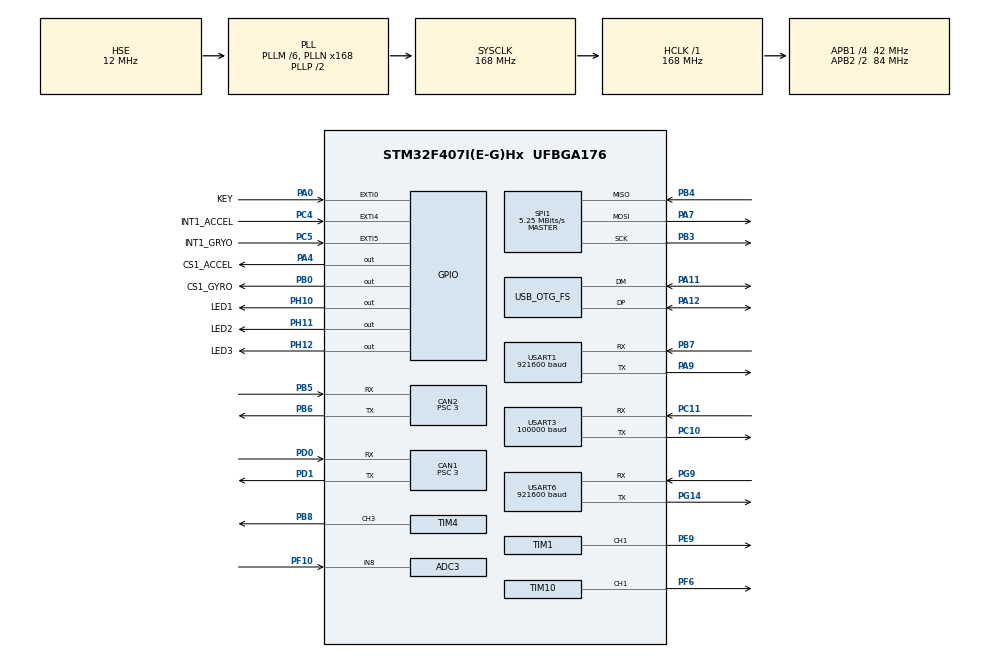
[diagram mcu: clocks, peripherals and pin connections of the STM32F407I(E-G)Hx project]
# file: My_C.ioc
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ADC1.Channel-0\#ChannelRegularConversion=ADC_CHANNEL_VREFINT
ADC1.ClockPrescaler=ADC_CLOCK_SYNC_PCLK_DIV4
ADC1.NbrOfConversionFlag=1
ADC1.Rank-0\#ChannelRegularConversion=1
ADC1.SamplingTime-0\#ChannelRegularConversion=ADC_SAMPLETIME_3CYCLES
ADC1.master=1
ADC3.Channel-0\#ChannelRegularConversion=ADC_CHANNEL_8
ADC3.ClockPrescaler=ADC_CLOCK_SYNC_PCLK_DIV4
ADC3.NbrOfConversionFlag=1
ADC3.Rank-0\#ChannelRegularConversion=1
ADC3.SamplingTime-0\#ChannelRegularConversion=ADC_SAMPLETIME_3CYCLES
CAN1.ABOM=ENABLE
CAN1.AWUM=ENABLE
CAN1.BS1=CAN_BS1_10TQ
CAN1.BS2=CAN_BS2_3TQ
CAN1.CalculateBaudRate=1000000
CAN1.CalculateTimeBit=1000
CAN1.CalculateTimeQuantum=71.42857142857143
CAN1.Prescaler=3
CAN1.TXFP=ENABLE
CAN2.ABOM=ENABLE
CAN2.AWUM=ENABLE
CAN2.BS1=CAN_BS1_10TQ
CAN2.BS2=CAN_BS2_3TQ
CAN2.CalculateBaudRate=1000000
CAN2.CalculateTimeBit=1000
CAN2.CalculateTimeQuantum=71.42857142857143
CAN2.Prescaler=3
CAN2.TXFP=ENABLE
Dma.Request0=SPI1_RX
Dma.Request1=SPI1_TX
Dma.Request2=USART3_RX
Dma.Request3=USART1_RX
Dma.Request4=USART1_TX
Dma.Request5=USART6_RX
Dma.Request6=USART6_TX
Dma.SPI1_RX.0.Direction=DMA_PERIPH_TO_MEMORY
Dma.SPI1_RX.0.FIFOMode=DMA_FIFOMODE_DISABLE
Dma.SPI1_RX.0.Instance=DMA2_Stream0
Dma.SPI1_RX.0.MemDataAlignment=DMA_MDATAALIGN_BYTE
Dma.SPI1_RX.0.MemInc=DMA_MINC_ENABLE
Dma.SPI1_RX.0.Mode=DMA_NORMAL
Dma.SPI1_RX.0.PeriphDataAlignment=DMA_PDATAALIGN_BYTE
Dma.SPI1_RX.0.PeriphInc=DMA_PINC_DISABLE
Dma.SPI1_RX.0.Priority=DMA_PRIORITY_VERY_HIGH
Dma.SPI1_TX.1.Direction=DMA_MEMORY_TO_PERIPH
Dma.SPI1_TX.1.FIFOMode=DMA_FIFOMODE_DISABLE
Dma.SPI1_TX.1.Instance=DMA2_Stream3
Dma.SPI1_TX.1.MemDataAlignment=DMA_MDATAALIGN_BYTE
Dma.SPI1_TX.1.MemInc=DMA_MINC_ENABLE
Dma.SPI1_TX.1.Mode=DMA_NORMAL
Dma.SPI1_TX.1.PeriphDataAlignment=DMA_PDATAALIGN_BYTE
Dma.SPI1_TX.1.PeriphInc=DMA_PINC_DISABLE
Dma.SPI1_TX.1.Priority=DMA_PRIORITY_HIGH
Dma.USART1_RX.3.Direction=DMA_PERIPH_TO_MEMORY
Dma.USART1_RX.3.FIFOMode=DMA_FIFOMODE_DISABLE
Dma.USART1_RX.3.Instance=DMA2_Stream2
Dma.USART1_RX.3.MemDataAlignment=DMA_MDATAALIGN_BYTE
Dma.USART1_RX.3.MemInc=DMA_MINC_ENABLE
Dma.USART1_RX.3.Mode=DMA_CIRCULAR
Dma.USART1_RX.3.PeriphDataAlignment=DMA_PDATAALIGN_BYTE
Dma.USART1_RX.3.PeriphInc=DMA_PINC_DISABLE
Dma.USART1_RX.3.Priority=DMA_PRIORITY_HIGH
Dma.USART1_TX.4.Direction=DMA_MEMORY_TO_PERIPH
Dma.USART1_TX.4.FIFOMode=DMA_FIFOMODE_DISABLE
Dma.USART1_TX.4.Instance=DMA2_Stream7
Dma.USART1_TX.4.MemDataAlignment=DMA_MDATAALIGN_BYTE
Dma.USART1_TX.4.MemInc=DMA_MINC_ENABLE
Dma.USART1_TX.4.Mode=DMA_NORMAL
Dma.USART1_TX.4.PeriphDataAlignment=DMA_PDATAALIGN_BYTE
Dma.USART1_TX.4.PeriphInc=DMA_PINC_DISABLE
Dma.USART1_TX.4.Priority=DMA_PRIORITY_HIGH
Dma.USART3_RX.2.Direction=DMA_PERIPH_TO_MEMORY
Dma.USART3_RX.2.FIFOMode=DMA_FIFOMODE_DISABLE
Dma.USART3_RX.2.Instance=DMA1_Stream1
Dma.USART3_RX.2.MemDataAlignment=DMA_MDATAALIGN_BYTE
Dma.USART3_RX.2.MemInc=DMA_MINC_ENABLE
Dma.USART3_RX.2.Mode=DMA_CIRCULAR
Dma.USART3_RX.2.PeriphDataAlignment=DMA_PDATAALIGN_BYTE
Dma.USART3_RX.2.PeriphInc=DMA_PINC_DISABLE
Dma.USART3_RX.2.Priority=DMA_PRIORITY_HIGH
Dma.USART6_RX.5.Direction=DMA_PERIPH_TO_MEMORY
Dma.USART6_RX.5.FIFOMode=DMA_FIFOMODE_DISABLE
Dma.USART6_RX.5.Instance=DMA2_Stream1
Dma.USART6_RX.5.MemDataAlignment=DMA_MDATAALIGN_BYTE
Dma.USART6_RX.5.MemInc=DMA_MINC_ENABLE
Dma.USART6_RX.5.Mode=DMA_CIRCULAR
Dma.USART6_RX.5.PeriphDataAlignment=DMA_PDATAALIGN_BYTE
Dma.USART6_RX.5.PeriphInc=DMA_PINC_DISABLE
Dma.USART6_RX.5.Priority=DMA_PRIORITY_HIGH
Dma.USART6_TX.6.Direction=DMA_MEMORY_TO_PERIPH
Dma.USART6_TX.6.FIFOMode=DMA_FIFOMODE_DISABLE
Dma.USART6_TX.6.Instance=DMA2_Stream6
Dma.USART6_TX.6.MemDataAlignment=DMA_MDATAALIGN_BYTE
Dma.USART6_TX.6.MemInc=DMA_MINC_ENABLE
Dma.USART6_TX.6.Mode=DMA_NORMAL
Dma.USART6_TX.6.PeriphDataAlignment=DMA_PDATAALIGN_BYTE
Dma.USART6_TX.6.PeriphInc=DMA_PINC_DISABLE
Dma.USART6_TX.6.Priority=DMA_PRIORITY_HIGH
FREERTOS.Tasks01=MonitorTask,3,512,StartMonitorTask,As weak,NULL,Dynamic,NULL,NULL;CommunityTask,2,512,StartCommunityTask,As weak,NULL,Dynamic,NULL,NULL;ControlTask,3,1024,StartControlTask,As weak,NULL,Dynamic,NULL,NULL;LedTask,1,128,StartLedTask,As weak,NULL,Dynamic,NULL,NULL
Mcu.Family=STM32F4
Mcu.Name=STM32F407I(E-G)Hx
Mcu.Package=UFBGA176
NVIC.CAN1_RX0_IRQn=true\:5\:0\:false\:false\:true\:true\:true\:true\:true
NVIC.CAN2_RX0_IRQn=true\:5\:0\:false\:false\:true\:true\:true\:true\:true
NVIC.DMA1_Stream1_IRQn=true\:5\:0\:false\:false\:true\:true\:false\:true\:true
NVIC.DMA2_Stream0_IRQn=true\:5\:0\:false\:false\:true\:true\:false\:true\:true
NVIC.DMA2_Stream1_IRQn=true\:5\:0\:false\:false\:true\:true\:false\:true\:true
NVIC.DMA2_Stream2_IRQn=true\:5\:0\:false\:false\:true\:true\:false\:true\:true
NVIC.DMA2_Stream3_IRQn=true\:5\:0\:false\:false\:true\:true\:false\:true\:true
NVIC.DMA2_Stream6_IRQn=true\:5\:0\:false\:false\:true\:true\:false\:true\:true
NVIC.DMA2_Stream7_IRQn=true\:5\:0\:false\:false\:true\:true\:false\:true\:true
NVIC.EXTI0_IRQn=true\:5\:0\:false\:false\:true\:true\:true\:true\:true
NVIC.EXTI4_IRQn=true\:5\:0\:false\:false\:true\:true\:true\:true\:true
NVIC.EXTI9_5_IRQn=true\:5\:0\:false\:false\:true\:true\:true\:true\:true
NVIC.OTG_FS_IRQn=true\:5\:0\:false\:false\:true\:true\:false\:true\:true
NVIC.PriorityGroup=NVIC_PRIORITYGROUP_4
NVIC.TIM2_IRQn=true\:15\:0\:false\:false\:true\:false\:false\:true\:true
NVIC.TIM4_IRQn=true\:5\:0\:false\:false\:true\:true\:true\:true\:true
NVIC.TimeBase=TIM2_IRQn
NVIC.TimeBaseIP=TIM2
NVIC.USART1_IRQn=true\:5\:0\:false\:false\:true\:true\:true\:true\:true
NVIC.USART3_IRQn=true\:5\:0\:false\:false\:true\:true\:true\:true\:true
NVIC.USART6_IRQn=true\:5\:0\:false\:false\:true\:true\:true\:true\:true
PA0-WKUP.GPIO_Label=KEY
PA0-WKUP.GPIO_ModeDefaultEXTI=GPIO_MODE_IT_FALLING
PA0-WKUP.GPIO_PuPd=GPIO_PULLUP
PA0-WKUP.Signal=GPXTI0
PA11.Mode=Device_Only
PA11.Signal=USB_OTG_FS_DM
PA12.Mode=Device_Only
PA12.Signal=USB_OTG_FS_DP
PA13.Mode=Serial_Wire
PA13.Signal=SYS_JTMS-SWDIO
PA14.Mode=Serial_Wire
PA14.Signal=SYS_JTCK-SWCLK
PA4.GPIO_Label=CS1_ACCEL
PA4.GPIO_PuPd=GPIO_PULLUP
PA4.GPIO_Speed=GPIO_SPEED_FREQ_HIGH
PA4.PinState=GPIO_PIN_SET
PA4.Signal=GPIO_Output
PA7.Mode=Full_Duplex_Master
PA7.Signal=SPI1_MOSI
PA9.Mode=Asynchronous
PA9.Signal=USART1_TX
PB0.GPIO_Label=CS1_GYRO
PB0.GPIO_PuPd=GPIO_PULLUP
PB0.GPIO_Speed=GPIO_SPEED_FREQ_HIGH
PB0.PinState=GPIO_PIN_SET
PB0.Signal=GPIO_Output
PB3.Mode=Full_Duplex_Master
PB3.Signal=SPI1_SCK
PB4.Mode=Full_Duplex_Master
PB4.Signal=SPI1_MISO
PB5.Mode=CAN_Activate
PB5.Signal=CAN2_RX
PB6.Mode=CAN_Activate
PB6.Signal=CAN2_TX
PB7.Mode=Asynchronous
PB7.Signal=USART1_RX
PB8.Signal=S_TIM4_CH3
PC10.Mode=Asynchronous
PC10.Signal=USART3_TX
PC11.Mode=Asynchronous
PC11.Signal=USART3_RX
PC4.GPIO_Label=INT1_ACCEL
PC4.GPIO_ModeDefaultEXTI=GPIO_MODE_IT_FALLING
PC4.GPIO_PuPd=GPIO_PULLUP
PC4.Signal=GPXTI4
PC5.GPIO_Label=INT1_GRYO
PC5.GPIO_ModeDefaultEXTI=GPIO_MODE_IT_FALLING
PC5.GPIO_PuPd=GPIO_PULLUP
PC5.Signal=GPXTI5
PD0.Mode=CAN_Activate
PD0.Signal=CAN1_RX
PD1.Mode=CAN_Activate
PD1.Signal=CAN1_TX
PE9.Signal=S_TIM1_CH1
PF10.Mode=IN8
PF10.Signal=ADC3_IN8
PF6.GPIO_PuPd=GPIO_PULLUP
PF6.GPIO_Speed=GPIO_SPEED_FREQ_HIGH
PF6.Signal=S_TIM10_CH1
PG14.Mode=Asynchronous
PG14.Signal=USART6_TX
PG9.Mode=Asynchronous
PG9.Signal=USART6_RX
PH0-OSC_IN.Mode=HSE-External-Oscillator
PH0-OSC_IN.Signal=RCC_OSC_IN
PH1-OSC_OUT.Mode=HSE-External-Oscillator
PH1-OSC_OUT.Signal=RCC_OSC_OUT
PH10.GPIO_Label=LED1
PH10.Signal=GPIO_Output
PH11.GPIO_Label=LED2
PH11.Signal=GPIO_Output
PH12.GPIO_Label=LED3
PH12.Signal=GPIO_Output
ProjectManager.HeapSize=0x200
ProjectManager.StackSize=0x400
ProjectManager.TargetToolchain=MDK-ARM V5.32
RCC.48MHZClocksFreq_Value=48000000
RCC.AHBFreq_Value=168000000
RCC.APB1CLKDivider=RCC_HCLK_DIV4
RCC.APB1Freq_Value=42000000
RCC.APB1TimFreq_Value=84000000
RCC.APB2CLKDivider=RCC_HCLK_DIV2
RCC.APB2Freq_Value=84000000
RCC.APB2TimFreq_Value=168000000
RCC.CortexFreq_Value=168000000
RCC.HCLKFreq_Value=168000000
RCC.HSE_VALUE=12000000
RCC.HSI_VALUE=16000000
RCC.LSE_VALUE=32768
RCC.PLLM=6
RCC.PLLN=168
RCC.PLLQ=7
RCC.SYSCLKFreq_VALUE=168000000
RCC.SYSCLKSource=RCC_SYSCLKSOURCE_PLLCLK
RCC.VCOOutputFreq_Value=336000000
SH.S_TIM10_CH1.0=TIM10_CH1,PWM Generation1 CH1
SH.S_TIM1_CH1.0=TIM1_CH1,PWM Generation1 CH1
SH.S_TIM4_CH3.0=TIM4_CH3,PWM Generation3 CH3
SPI1.BaudRatePrescaler=SPI_BAUDRATEPRESCALER_16
SPI1.CLKPhase=SPI_PHASE_2EDGE
SPI1.CLKPolarity=SPI_POLARITY_HIGH
SPI1.CalculateBaudRate=5.25 MBits/s
SPI1.Direction=SPI_DIRECTION_2LINES
SPI1.Mode=SPI_MODE_MASTER
SPI1.VirtualType=VM_MASTER
TIM1.Channel-PWM\ Generation1\ CH1=TIM_CHANNEL_1
TIM1.Period=19999
TIM1.Prescaler=167
TIM10.Channel=TIM_CHANNEL_1
TIM10.Period=4999
TIM4.AutoReloadPreload=TIM_AUTORELOAD_PRELOAD_ENABLE
TIM4.Channel-PWM\ Generation3\ CH3=TIM_CHANNEL_3
TIM4.Period=499
TIM4.Prescaler=83
USART1.BaudRate=921600
USART1.VirtualMode=VM_ASYNC
USART3.BaudRate=100000
USART3.Parity=PARITY_EVEN
USART3.VirtualMode=VM_ASYNC
USART6.BaudRate=921600
USART6.VirtualMode=VM_ASYNC
USB_DEVICE.APP_RX_DATA_SIZE-CDC_FS=128
USB_DEVICE.APP_TX_DATA_SIZE-CDC_FS=128
USB_DEVICE.CLASS_NAME_FS=CDC
USB_DEVICE.VirtualMode-CDC_FS=Cdc
USB_DEVICE.VirtualModeFS=Cdc_FS
USB_OTG_FS.VirtualMode=Device_Only
VP_ADC1_TempSens_Input.Mode=IN-TempSens
VP_ADC1_Vref_Input.Mode=IN-Vrefint
VP_FREERTOS_VS_CMSIS_V1.Mode=CMSIS_V1
VP_IWDG_VS_IWDG.Mode=IWDG_Activate
VP_SYS_VS_tim2.Mode=TIM2
VP_TIM10_VS_ClockSourceINT.Mode=Enable_Timer
VP_TIM4_VS_ClockSourceINT.Mode=Internal
VP_USB_DEVICE_VS_USB_DEVICE_CDC_FS.Mode=CDC_FS
board=custom

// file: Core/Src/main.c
/* USER CODE BEGIN Header */
/**
  ******************************************************************************
  * @file           : main.c
  * @brief          : Main program body
  ******************************************************************************
  * @attention
  *
  * Copyright (c) 2024 STMicroelectronics.
  * All rights reserved.
  *
  * This software is licensed under terms that can be found in the LICENSE file
  * in the root directory of this software component.
  * If no LICENSE file comes with this software, it is provided AS-IS.
  *
  ******************************************************************************
  */
/* USER CODE END Header */
#include "main.h"
#include "cmsis_os.h"
#include "adc.h"
#include "can.h"
#include "dma.h"
#include "spi.h"
#include "tim.h"
#include "usart.h"
#include "usb_device.h"
#include "gpio.h"

/* USER CODE BEGIN Includes */
#include "iwdg.h"
#include "driver.h"
#include "device.h"
#include "rc_protocol.h"
#include "module.h"
/* USER CODE END Includes */

void SystemClock_Config(void);
void MX_FREERTOS_Init(void);

int main(void)
{

  /* MCU Configuration--------------------------------------------------------*/

  /* Reset of all peripherals, Initializes the Flash interface and the Systick. */
  HAL_Init();

  /* Configure the system clock */
  SystemClock_Config();

  /* Initialize all configured peripherals */
  MX_GPIO_Init();
  MX_DMA_Init();
  MX_SPI1_Init();
  MX_TIM10_Init();
  MX_CAN1_Init();
  MX_CAN2_Init();
  MX_USART3_UART_Init();
  MX_USART1_UART_Init();
  MX_USART6_UART_Init();
  MX_TIM4_Init();
  MX_ADC1_Init();
  MX_ADC3_Init();
  MX_TIM1_Init();
  /* USER CODE BEGIN 2 */

  // MX_IWDG_Init();
	 MX_USB_DEVICE_Init();
	DEVICE_Init();
	DRIVER_Init();
	CAN_Filter_Init();
  Module_Init();

  /* USER CODE END 2 */

  /* Call init function for freertos objects (in cmsis_os2.c) */
  MX_FREERTOS_Init();

  /* Start scheduler */
  osKernelStart();

  /* We should never get here as control is now taken by the scheduler */

  /* Infinite loop */
  while (1)
  {

  }
}

void SystemClock_Config(void)
{
  RCC_OscInitTypeDef RCC_OscInitStruct = {0};
  RCC_ClkInitTypeDef RCC_ClkInitStruct = {0};

  /** Configure the main internal regulator output voltage
  */
  __HAL_RCC_PWR_CLK_ENABLE();
  __HAL_PWR_VOLTAGESCALING_CONFIG(PWR_REGULATOR_VOLTAGE_SCALE1);

  /** Initializes the RCC Oscillators according to the specified parameters
  * in the RCC_OscInitTypeDef structure.
  */
  RCC_OscInitStruct.OscillatorType = RCC_OSCILLATORTYPE_LSI|RCC_OSCILLATORTYPE_HSE;
  RCC_OscInitStruct.HSEState = RCC_HSE_ON;
  RCC_OscInitStruct.LSIState = RCC_LSI_ON;
  RCC_OscInitStruct.PLL.PLLState = RCC_PLL_ON;
  RCC_OscInitStruct.PLL.PLLSource = RCC_PLLSOURCE_HSE;
  RCC_OscInitStruct.PLL.PLLM = 6;
  RCC_OscInitStruct.PLL.PLLN = 168;
  RCC_OscInitStruct.PLL.PLLP = RCC_PLLP_DIV2;
  RCC_OscInitStruct.PLL.PLLQ = 7;
  if (HAL_RCC_OscConfig(&RCC_OscInitStruct) != HAL_OK)
  {
    Error_Handler();
  }

  /** Initializes the CPU, AHB and APB buses clocks
  */
  RCC_ClkInitStruct.ClockType = RCC_CLOCKTYPE_HCLK|RCC_CLOCKTYPE_SYSCLK
                              |RCC_CLOCKTYPE_PCLK1|RCC_CLOCKTYPE_PCLK2;
  RCC_ClkInitStruct.SYSCLKSource = RCC_SYSCLKSOURCE_PLLCLK;
  RCC_ClkInitStruct.AHBCLKDivider = RCC_SYSCLK_DIV1;
  RCC_ClkInitStruct.APB1CLKDivider = RCC_HCLK_DIV4;
  RCC_ClkInitStruct.APB2CLKDivider = RCC_HCLK_DIV2;

  if (HAL_RCC_ClockConfig(&RCC_ClkInitStruct, FLASH_LATENCY_5) != HAL_OK)
  {
    Error_Handler();
  }
}

void HAL_TIM_PeriodElapsedCallback(TIM_HandleTypeDef *htim)
{
  /* USER CODE BEGIN Callback 0 */
	static uint16_t i = 0;
	if (htim->Instance == TIM4)
	{
		if (i++ == 60000)
		{
			i = 0;
		}

		if ((imu_sensor.work_state.err_code == IMU_NONE_ERR) || \
				(imu_sensor.work_state.err_code == IMU_DATA_CALI))
		{
			#if !IMU_USE_EKF
			imu_sensor.update(&imu_sensor);
			#endif

		}

	}
  /* USER CODE END Callback 0 */
  if (htim->Instance == TIM2)
  {
    HAL_IncTick();
  }
}

void Error_Handler(void)
{
  __disable_irq();
  while (1)
  {
  }
}
